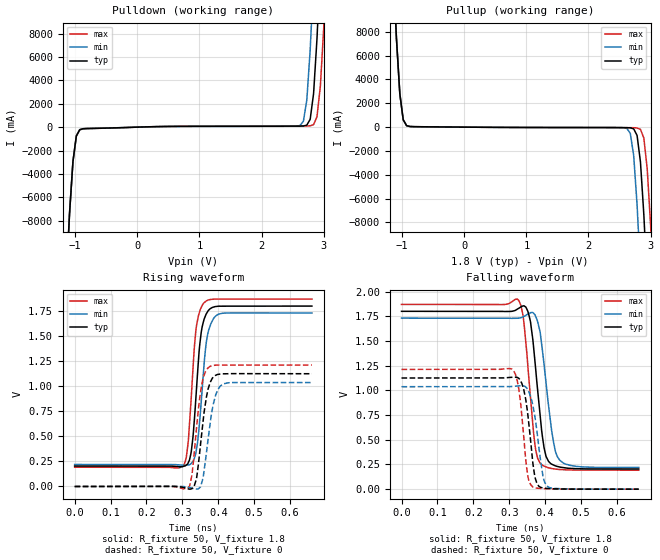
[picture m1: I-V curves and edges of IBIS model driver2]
| IBIS file invchain_skewp_tr100ps.ibs created by PYS2IBIS3
| Missouri S&T EMC Lab
[IBIS Ver] 7.1
[File Name] invchain_skewp_tr100ps.ibs
[File Rev] 1.0
[Date] Jul 27, 2026
[Source] inv_chain variant 'skewp' -- weak PMOS, Wp = Wn
[Notes] Parameter selection; sim_time=6.606e-10, tr=tf=1.000e-10.
[Component] invchain
[Manufacturer] s2ibispy study
[Package]
| variable   typ   min   max
R_pkg 0 NA NA
L_pkg 0H NA NA
C_pkg 0F NA NA
[Pin]  signal_name   model_name   R_pin   L_pin   C_pin
VSSQ   VSSQ   Gnd
VCCQ   VCCQ   Power
| IN IN dummy
PAD   PAD   driver2
| End of Component
| Models and submodels in the file (1): driver2 (Output)
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[Model] driver2
Model_type Output
Polarity Non-Inverting
Enable Active-High
Vinl  = 0.8V
Vinh  = 2V
C_comp 0.4680pF NA NA
[Temperature Range] 27.0000 27.0000 27.0000
[Voltage Range] 1.8000V 1.7000V 1.9000V
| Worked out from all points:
|   slope of the pulldown table from 0 to 0.27 V, typ, clamps not added: 6.79 ohm
|   slope of the pullup table from 0 to 0.27 V, typ, clamps not added: 24.6 ohm
|   rising waveform, R_fixture 50, V_fixture 1.8: 20-80 % time 20.2ps typ, 21.5ps min, 18.7ps max; typ from 0.204 V to 1.8 V
|   rising waveform, R_fixture 50, V_fixture 0: 20-80 % time 22.6ps typ, 24.1ps min, 21.1ps max; typ from 0 V to 1.12 V
|   falling waveform, R_fixture 50, V_fixture 1.8: 20-80 % time 26.1ps typ, 29.5ps min, 23.8ps max; typ from 1.8 V to 0.204 V
|   falling waveform, R_fixture 50, V_fixture 0: 20-80 % time 20.9ps typ, 24ps min, 19.4ps max; typ from 1.12 V to 0 V
[Pulldown]
| Voltage   I(typ)   I(min)   I(max)
-1.8V     -87.88A    -87.88A    -87.88A
-1.145V   -13.18A    -13.18A    -13.18A
-1.091V   -7.364A    -7.362A    -7.366A
-981.8mV  -760.7mA   -755.8mA   -765.3mA
-927.3mV  -221.8mA   -216.4mA   -227mA
2.618V    89.37mA    140mA      93.72mA
2.727V    172.9mA    2.318A     99.43mA
2.836V    2.874A     12.68A     215.6mA
2.891V    7.545A     19.33A     885.6mA
2.946V    13.8A      25.98A     3.505A
3V        20.45A     32.63A     8.516A
3.6V      93.6A      105.8A     81.42A
[Pullup]
| Voltage   I(typ)   I(min)   I(max)
-1.8V     93.5A      93.5A      93.5A
-1.145V   13.72A     13.72A     13.72A
-1.091V   7.473A     7.472A     7.473A
-1.036V   2.812A     2.811A     2.812A
-981.8mV  621.2mA    620.4mA    621.9mA
-927.3mV  124.8mA    123.9mA    125.6mA
2.618V    -45.42mA   -113mA     -43.22mA
2.727V    -144.2mA   -2.378A    -50.27mA
2.836V    -2.918A    -12.15A    -185.8mA
2.891V    -7.358A    -18.37A    -914mA
3V        -19.41A    -30.82A    -8.26A
3.6V      -87.89A    -99.3A     -76.48A
[Ramp]
| variable   typ   min   max
dV/dt_r 0.6750/0.02253n 0.6222/0.02406n 0.7272/0.02124n
dV/dt_f 0.9575/0.02614n 0.8972/0.02853n 1.0171/0.02418n
R_load = 50
[Rising Waveform]
R_fixture = 50
V_fixture = 1.8
|time   V(typ)   V(min)   V(max)
0s        204.2mV    219.5mV    192.2mV
300.2ps   198mV      212.6mV    199mV
316.1ps   234mV      214.5mV    438.7mV
325.4ps   365.7mV    232.7mV    926.6mV
336.6ps   828.3mV    316mV      1.527V
347.8ps   1.398V     631.3mV    1.746V
359.1ps   1.652V     1.157V     1.829V
373.6ps   1.761V     1.565V     1.862V
399.4ps   1.798V     1.717V     1.87V
660.6ps   1.8V       1.731V     1.87V
[Rising Waveform]
R_fixture = 50
V_fixture = 0
|time   V(typ)   V(min)   V(max)
0s        9.143nV    8.943nV    9.398nV
315.4ps   -23.35mV   -6.882mV   -13.9mV
326.7ps   -19.72mV   -17.37mV   115.6mV
339.2ps   76.31mV    -26.08mV   577.8mV
347.8ps   327.4mV    -13.49mV   871.7mV
357.8ps   659.9mV    88.3mV     1.078V
370.3ps   956.8mV    434.1mV    1.18V
390.8ps   1.107V     893.4mV    1.21V
413.3ps   1.125V     1.022V     1.212V
660.6ps   1.125V     1.037V     1.212V
[Falling Waveform]
R_fixture = 50
V_fixture = 1.8
|time   V(typ)   V(min)   V(max)
0s        1.8V       1.731V     1.87V
322.7ps   1.822V     1.73V      1.923V
338.6ps   1.854V     1.743V     1.755V
352.5ps   1.791V     1.774V     1.218V
365.7ps   1.513V     1.787V     641.1mV
378.3ps   1.028V     1.708V     319.3mV
396.1ps   432.7mV    1.288V     234.3mV
419.9ps   249.2mV    543.9mV    207.9mV
438.4ps   225.3mV    303.4mV    199.4mV
660.6ps   204.2mV    219.5mV    192.2mV
[Falling Waveform]
R_fixture = 50
V_fixture = 0
|time   V(typ)   V(min)   V(max)
0s        1.125V     1.037V     1.212V
307.5ps   1.133V     1.039V     1.215V
326.7ps   1.121V     1.046V     1.012V
340.6ps   1.005V     1.044V     521.6mV
351.1ps   773.8mV    1.01V      140.2mV
364.4ps   311.9mV    869.4mV    25.22mV
375.6ps   70.49mV    627.3mV    10.99mV
394.1ps   11.6mV     123.6mV    5.362mV
404.7ps   7.702mV    33.4mV     3.611mV
660.6ps   -2.385uV   -4.471uV   -994.7nV
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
